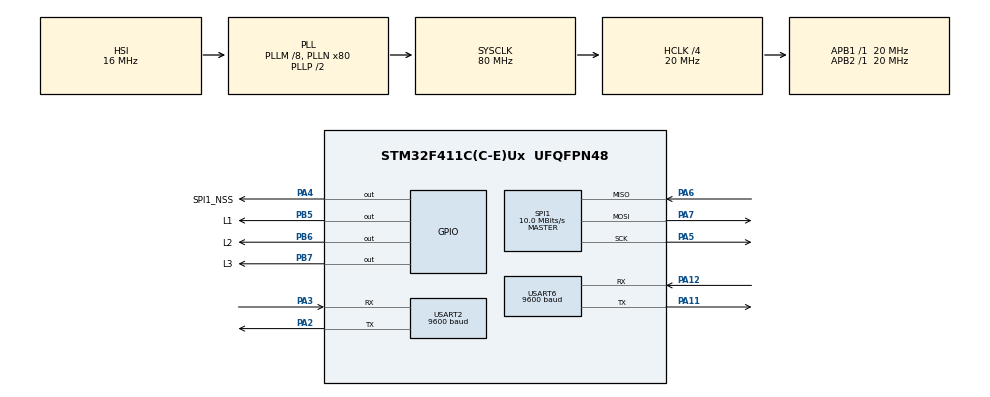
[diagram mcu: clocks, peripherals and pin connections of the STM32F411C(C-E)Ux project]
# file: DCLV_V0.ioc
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Mcu.Family=STM32F4
Mcu.Name=STM32F411C(C-E)Ux
Mcu.Package=UFQFPN48
NVIC.PriorityGroup=NVIC_PRIORITYGROUP_4
NVIC.TIM3_IRQn=true\:0\:0\:false\:false\:true\:true\:true
NVIC.USART2_IRQn=true\:5\:0\:true\:false\:true\:true\:true
NVIC.USART6_IRQn=true\:6\:0\:true\:false\:true\:true\:true
PA11.Mode=Asynchronous
PA11.Signal=USART6_TX
PA12.Mode=Asynchronous
PA12.Signal=USART6_RX
PA13.Mode=Serial_Wire
PA13.Signal=SYS_JTMS-SWDIO
PA14.Mode=Serial_Wire
PA14.Signal=SYS_JTCK-SWCLK
PA2.Mode=Asynchronous
PA2.Signal=USART2_TX
PA3.Mode=Asynchronous
PA3.Signal=USART2_RX
PA4.GPIO_Label=SPI1_NSS
PA4.GPIO_PuPd=GPIO_PULLUP
PA4.Signal=GPIO_Output
PA5.Mode=Full_Duplex_Master
PA5.Signal=SPI1_SCK
PA6.Mode=Full_Duplex_Master
PA6.Signal=SPI1_MISO
PA7.Mode=Full_Duplex_Master
PA7.Signal=SPI1_MOSI
PB5.GPIO_Label=L1
PB5.Signal=GPIO_Output
PB6.GPIO_Label=L2
PB6.Signal=GPIO_Output
PB7.GPIO_Label=L3
PB7.Signal=GPIO_Output
PC14-OSC32_IN.Mode=LSE-External-Oscillator
PC14-OSC32_IN.Signal=RCC_OSC32_IN
PC15-OSC32_OUT.Mode=LSE-External-Oscillator
PC15-OSC32_OUT.Signal=RCC_OSC32_OUT
PH0\ -\ OSC_IN.Mode=HSE-External-Oscillator
PH0\ -\ OSC_IN.Signal=RCC_OSC_IN
PH1\ -\ OSC_OUT.Mode=HSE-External-Oscillator
PH1\ -\ OSC_OUT.Signal=RCC_OSC_OUT
ProjectManager.HeapSize=0x200
ProjectManager.StackSize=0x400
ProjectManager.TargetToolchain=MDK-ARM V5.32
RCC.48MHZClocksFreq_Value=40000000
RCC.AHBCLKDivider=RCC_SYSCLK_DIV4
RCC.AHBFreq_Value=20000000
RCC.APB1Freq_Value=20000000
RCC.APB1TimFreq_Value=20000000
RCC.APB2Freq_Value=20000000
RCC.APB2TimFreq_Value=20000000
RCC.CortexFreq_Value=20000000
RCC.HCLKFreq_Value=20000000
RCC.HSE_VALUE=25000000
RCC.HSI_VALUE=16000000
RCC.PLLM=8
RCC.PLLN=80
RCC.RCC_RTC_Clock_SourceVirtual=RCC_RTCCLKSOURCE_LSE
RCC.SYSCLKFreq_VALUE=80000000
RCC.SYSCLKSource=RCC_SYSCLKSOURCE_PLLCLK
RCC.VCOOutputFreq_Value=160000000
RTC.AsynchPrediv=127
RTC.StoreOperation=RTC_STOREOPERATION_SET
RTC.SynchPrediv=255
SPI1.CalculateBaudRate=10.0 MBits/s
SPI1.Direction=SPI_DIRECTION_2LINES
SPI1.Mode=SPI_MODE_MASTER
SPI1.VirtualType=VM_MASTER
TIM3.AutoReloadPreload=TIM_AUTORELOAD_PRELOAD_ENABLE
TIM3.Period=23999
TIM3.Prescaler=50000
TIM5.Prescaler=20000
USART2.BaudRate=9600
USART2.VirtualMode=VM_ASYNC
USART6.BaudRate=9600
USART6.VirtualMode=VM_ASYNC
VP_RTC_VS_RTC_Activate.Mode=RTC_Enabled
VP_RTC_VS_RTC_Calendar.Mode=RTC_Calendar
VP_TIM3_VS_ClockSourceINT.Mode=Internal
VP_TIM5_VS_ClockSourceINT.Mode=Internal
board=custom

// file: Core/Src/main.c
/* USER CODE BEGIN Header */
/**
  ******************************************************************************
  * @file           : main.c
  * @brief          : Main program body
  ******************************************************************************
  * @attention
  *
  * <h2><center>&copy; Copyright (c) 2021 STMicroelectronics.
  * All rights reserved.</center></h2>
  *
  * This software component is licensed by ST under BSD 3-Clause license,
  * the "License"; You may not use this file except in compliance with the
  * License. You may obtain a copy of the License at:
  *                        opensource.org/licenses/BSD-3-Clause
  *
  ******************************************************************************
  */
/* USER CODE END Header */
#include "main.h"
#include "rtc.h"
#include "spi.h"
#include "tim.h"
#include "usart.h"
#include "gpio.h"

/* USER CODE BEGIN Includes */
#include "string.h"
#include "rc522.h"
#include "gps.h"
#include "TEST.h"
/* USER CODE END Includes */

/* USER CODE BEGIN PD */
#define Buf_size 150
#define warning_time 3
/*
	warning_time tinh bang phut
*/
/* USER CODE END PD */

/* USER CODE BEGIN PV */
RTC_TimeTypeDef TIME;
RTC_DateTypeDef DATE;
uint8_t CardID[5];

char Buf[Buf_size],Buf2[Buf_size],
			Buf3[Buf_size];
/*
Buf : Dung de gui tin nhan
Buf2: Dung de goi dien
Buf3: Bao dong
*/
/* USER CODE END PV */

void SystemClock_Config(void);
/* USER CODE BEGIN PFP */
void call(char *sdt);
void message(char *sdt, char *nd);
void delay_ms (uint16_t us);
/* USER CODE END PFP */

/* USER CODE BEGIN 0 */

void HAL_UART_RxCpltCallback(UART_HandleTypeDef *huart)
{
  /* Prevent unused argument(s) compilation warning */
  UNUSED(huart);
	if(huart->Instance==USART2)
	{
		GPS_UART_CallBack();

		if(((GPS.dec_latitude||GPS.dec_longitude)==0))
			HAL_GPIO_WritePin(L2_GPIO_Port,L2_Pin,1);
		else
		{HAL_GPIO_WritePin(L2_GPIO_Port,L2_Pin,0);
		}

	}
	if(huart->Instance==USART6)
	{

	}
  /* NOTE: This function should not be modified, when the callback is needed,
           the HAL_UART_RxCpltCallback could be implemented in the user file
   */
}

void HAL_TIM_PeriodElapsedCallback(TIM_HandleTypeDef *htim)
{
  /* Prevent unused argument(s) compilation warning */
  UNUSED(htim);
	HAL_RTC_GetTime(&hrtc,&TIME,RTC_FORMAT_BIN);
	HAL_RTC_GetDate(&hrtc,&DATE,RTC_FORMAT_BIN);
	for(int j=0;j<=10;j++)
				{if((HOCSINH[j].hour==0)&&(HOCSINH[j].minute==0))
					{
					continue;
					}
				else
				{
						if(TIME.Hours-HOCSINH[j].hour==0)
					{
						if(TIME.Minutes-HOCSINH[j].minute>=warning_time)
						{ call(HOCSINH[j].SDT);

							/*
									BAO DONG
							*/
						}

					}
					else
					{
						if(TIME.Minutes+60-HOCSINH[j].minute>=warning_time)
							{
								call(HOCSINH[j].SDT);

							/*
									BAO DONG
							*/
						}

					}
				}
				}

  /* NOTE : This function should not be modified, when the callback is needed,
            the HAL_TIM_PeriodElapsedCallback could be implemented in the user file
   */
}

/* USER CODE END 0 */

int main(void)
{

  /* MCU Configuration--------------------------------------------------------*/

  /* Reset of all peripherals, Initializes the Flash interface and the Systick. */
  HAL_Init();

  /* USER CODE BEGIN Init */
	kt();
  /* USER CODE END Init */

  /* Configure the system clock */
  SystemClock_Config();

  /* Initialize all configured peripherals */
  MX_GPIO_Init();
  MX_RTC_Init();
  MX_SPI1_Init();
  MX_USART2_UART_Init();
  MX_USART6_UART_Init();
  MX_TIM3_Init();
  MX_TIM5_Init();
  /* USER CODE BEGIN 2 */
		MFRC522_Init();
		GPS_Init();
		HAL_TIM_Base_Start(&htim5);
		HAL_TIM_Base_Start_IT(&htim3);
  /* USER CODE END 2 */
  /* Infinite loop */
  while (1)
  {

    /* USER CODE BEGIN 3 */
		if(MFRC522_Check(CardID)==MI_OK)
		{
			HAL_GPIO_WritePin(L1_GPIO_Port,L1_Pin,1);
			HAL_Delay(150);
				for(int j=0;j<=10;j++)
				{
					if(MFRC522_Compare(CardID,HOCSINH[j].ID)==MI_OK)
							{

									HOCSINH[j].state+=1;
										delay_ms(50);
								switch((int)HOCSINH[j].state)
								{
										case 1:
									{

										HOCSINH[j].hour=TIME.Hours;
										HOCSINH[j].minute=TIME.Minutes;

										/*
												Luu thoi gian hoc sinh len
										*/
										sprintf(Buf2,"Hoc sinh: %s, Lop: %s\nDa LEN XE luc %02d:%02d\nTai vi tri(Vi do,Kinh do):(%f,%f)",HOCSINH[j].Ho_Ten,HOCSINH[j].Lop,HOCSINH[j].hour,HOCSINH[j].minute,GPS.dec_latitude,GPS.dec_longitude);
										message(HOCSINH[j].SDT,Buf2);
										memset(Buf2,0,Buf_size);
										/*
												Gui tin nhan hoc sinh len
										*/
										break;
									}
										case 2:
									{
										HOCSINH[j].hour=TIME.Hours;
										HOCSINH[j].minute=TIME.Minutes;
										sprintf(Buf2,"Hoc sinh: %s, Lop: %s\nDa XUONG XE luc %02d:%02d\nTai vi tri(Vi do,Kinh do):(%f,%f)",HOCSINH[j].Ho_Ten,HOCSINH[j].Lop,HOCSINH[j].hour,HOCSINH[j].minute,GPS.dec_latitude,GPS.dec_longitude);
										message(HOCSINH[j].SDT,Buf2);
										memset(Buf2,0,Buf_size);
										/*
												Gui tin nhan hoc sinh xuong
										*/
										HOCSINH[j].hour=0;
										HOCSINH[j].minute=0;
										HOCSINH[j].state=0;
										/*
												Xoa thoi gian da luu
										*/
										break;
									}
										default:
									{
										/*
										Thong bao moi quet lai
										*/
										HOCSINH[j].state=0;
										break;
									}
								}
							break;
							}
				}
		 HAL_GPIO_WritePin(L1_GPIO_Port,L1_Pin,0);
		}

  }

  /* USER CODE END 3 */
}

void SystemClock_Config(void)
{
  RCC_OscInitTypeDef RCC_OscInitStruct = {0};
  RCC_ClkInitTypeDef RCC_ClkInitStruct = {0};

  /** Configure the main internal regulator output voltage
  */
  __HAL_RCC_PWR_CLK_ENABLE();
  __HAL_PWR_VOLTAGESCALING_CONFIG(PWR_REGULATOR_VOLTAGE_SCALE1);
  /** Initializes the RCC Oscillators according to the specified parameters
  * in the RCC_OscInitTypeDef structure.
  */
  RCC_OscInitStruct.OscillatorType = RCC_OSCILLATORTYPE_HSI|RCC_OSCILLATORTYPE_LSE;
  RCC_OscInitStruct.LSEState = RCC_LSE_ON;
  RCC_OscInitStruct.HSIState = RCC_HSI_ON;
  RCC_OscInitStruct.HSICalibrationValue = RCC_HSICALIBRATION_DEFAULT;
  RCC_OscInitStruct.PLL.PLLState = RCC_PLL_ON;
  RCC_OscInitStruct.PLL.PLLSource = RCC_PLLSOURCE_HSI;
  RCC_OscInitStruct.PLL.PLLM = 8;
  RCC_OscInitStruct.PLL.PLLN = 80;
  RCC_OscInitStruct.PLL.PLLP = RCC_PLLP_DIV2;
  RCC_OscInitStruct.PLL.PLLQ = 4;
  if (HAL_RCC_OscConfig(&RCC_OscInitStruct) != HAL_OK)
  {
    Error_Handler();
  }
  /** Initializes the CPU, AHB and APB buses clocks
  */
  RCC_ClkInitStruct.ClockType = RCC_CLOCKTYPE_HCLK|RCC_CLOCKTYPE_SYSCLK
                              |RCC_CLOCKTYPE_PCLK1|RCC_CLOCKTYPE_PCLK2;
  RCC_ClkInitStruct.SYSCLKSource = RCC_SYSCLKSOURCE_PLLCLK;
  RCC_ClkInitStruct.AHBCLKDivider = RCC_SYSCLK_DIV4;
  RCC_ClkInitStruct.APB1CLKDivider = RCC_HCLK_DIV1;
  RCC_ClkInitStruct.APB2CLKDivider = RCC_HCLK_DIV1;

  if (HAL_RCC_ClockConfig(&RCC_ClkInitStruct, FLASH_LATENCY_0) != HAL_OK)
  {
    Error_Handler();
  }
}

/* USER CODE BEGIN 4 */
void call(char *sdt)
{
	sprintf(Buf,"ATD%s\r\n",sdt);
	HAL_UART_Transmit(&huart6,Buf,20,20);
	memset(Buf,0,Buf_size);
}

void message(char *sdt, char *nd)
{
	HAL_UART_Transmit(&huart6,"AT+CMGF=1\r\n",14,10);
	delay_ms(1);
	sprintf(Buf,"AT+CMGS=\"%s\"\r\n %s \x1A",sdt,nd);
	HAL_UART_Transmit(&huart6,Buf,Buf_size,200);
	delay_ms(50);
	memset(Buf,0,Buf_size);
}

void delay_ms (uint16_t ms)
{
    __HAL_TIM_SET_COUNTER(&htim5,0);  // set the counter value a 0
    while (__HAL_TIM_GET_COUNTER(&htim5) < ms);  // wait for the counter to reach the us input in the parameter
}
/* USER CODE END 4 */

void Error_Handler(void)
{
  __disable_irq();
  while (1)
  {
  }
}

/************************ (C) COPYRIGHT STMicroelectronics *****END OF FILE****/
